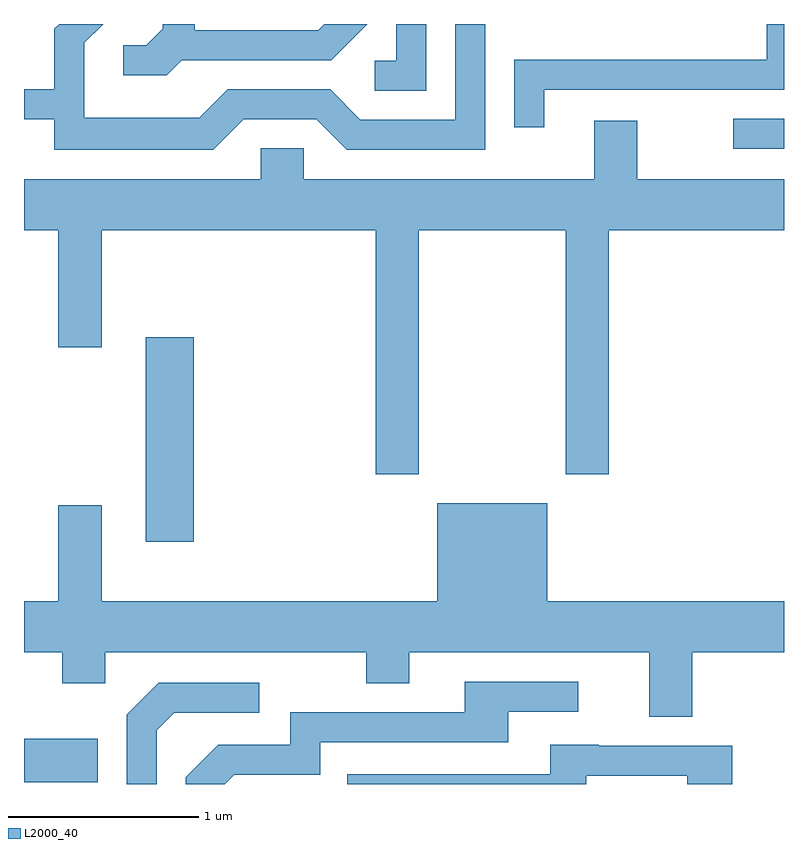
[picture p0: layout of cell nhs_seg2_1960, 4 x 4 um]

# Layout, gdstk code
import gdstk
lib = gdstk.Library(unit=1e-6, precision=1e-09)
def R(c, l, rs):  # rectangles x0, y0, x1, y1
    for r in rs: c.add(gdstk.rectangle(r[:2], r[2:], *l))
def P(c, l, *ps):  # polygons
    for p in ps: c.add(gdstk.Polygon(p, *l))
L2000_40 = (2000, 40)

nhs_seg2_1960 = lib.new_cell('nhs_seg2_1960')
R(nhs_seg2_1960, L2000_40, [(241.611,1089.811,241.999,1090.039), (242.251,1091.076,242.504,1092.154), (245.343,1093.146,245.611,1093.304)])
P(nhs_seg2_1960, L2000_40, [(242.767,1093.301),(243.149,1093.301),(243.309,1093.141),(244.039,1093.141),(244.039,1093.802),(243.881,1093.802),(243.881,1093.299),(243.382,1093.299),(243.222,1093.459),(242.684,1093.459),(242.534,1093.309),(241.929,1093.309),(241.929,1093.704),(242.027,1093.802),(241.796,1093.802),(241.771,1093.777),(241.771,1093.459),(241.611,1093.459),(241.611,1093.301),(241.771,1093.301),(241.771,1093.141),(242.607,1093.141)],
  [(242.442,1093.611),(243.227,1093.611),(243.417,1093.802),(243.192,1093.802),(243.159,1093.769),(242.509,1093.769),(242.509,1093.802),(242.341,1093.802),(242.341,1093.777),(242.254,1093.689),(242.133,1093.689),(242.133,1093.531),(242.362,1093.531)],
  [(244.349,1093.456),(245.611,1093.456),(245.611,1093.802),(245.521,1093.802),(245.521,1093.614),(244.191,1093.614),(244.191,1093.258),(244.349,1093.258)],
  [(243.729,1093.802),(243.571,1093.802),(243.571,1093.609),(243.458,1093.609),(243.458,1093.451),(243.729,1093.451)],
  [(243.689,1092.716),(244.461,1092.716),(244.461,1091.431),(244.689,1091.431),(244.689,1092.716),(245.611,1092.716),(245.611,1092.984),(244.839,1092.984),(244.839,1093.294),(244.611,1093.294),(244.611,1092.984),(243.084,1092.984),(243.084,1093.149),(242.856,1093.149),(242.856,1092.984),(241.611,1092.984),(241.611,1092.716),(241.791,1092.716),(241.791,1092.101),(242.019,1092.101),(242.019,1092.716),(243.461,1092.716),(243.461,1091.431),(243.689,1091.431)],
  [(245.129,1090.496),(245.611,1090.496),(245.611,1090.764),(244.364,1090.764),(244.364,1091.279),(243.786,1091.279),(243.786,1090.764),(242.019,1090.764),(242.019,1091.269),(241.791,1091.269),(241.791,1090.764),(241.611,1090.764),(241.611,1090.496),(241.811,1090.496),(241.811,1090.331),(242.039,1090.331),(242.039,1090.496),(243.411,1090.496),(243.411,1090.331),(243.639,1090.331),(243.639,1090.496),(244.901,1090.496),(244.901,1090.156),(245.129,1090.156)],
  [(242.717,1089.851),(243.169,1089.851),(243.169,1090.021),(244.159,1090.021),(244.159,1090.181),(244.528,1090.181),(244.528,1090.339),(243.931,1090.339),(243.931,1090.179),(243.011,1090.179),(243.011,1090.009),(242.634,1090.009),(242.461,1089.837),(242.461,1089.802),(242.667,1089.802)],
  [(242.309,1090.084),(242.402,1090.176),(242.848,1090.176),(242.848,1090.334),(242.319,1090.334),(242.151,1090.167),(242.151,1089.802),(242.309,1089.802)],
  [(244.569,1089.846),(245.101,1089.846),(245.101,1089.802),(245.339,1089.802),(245.339,1090.004),(244.635,1090.004),(244.635,1090.009),(244.381,1090.009),(244.381,1089.854),(243.313,1089.854),(243.313,1089.802),(244.569,1089.802)])

lib.write_gds('nhs_seg2_1960.gds')
